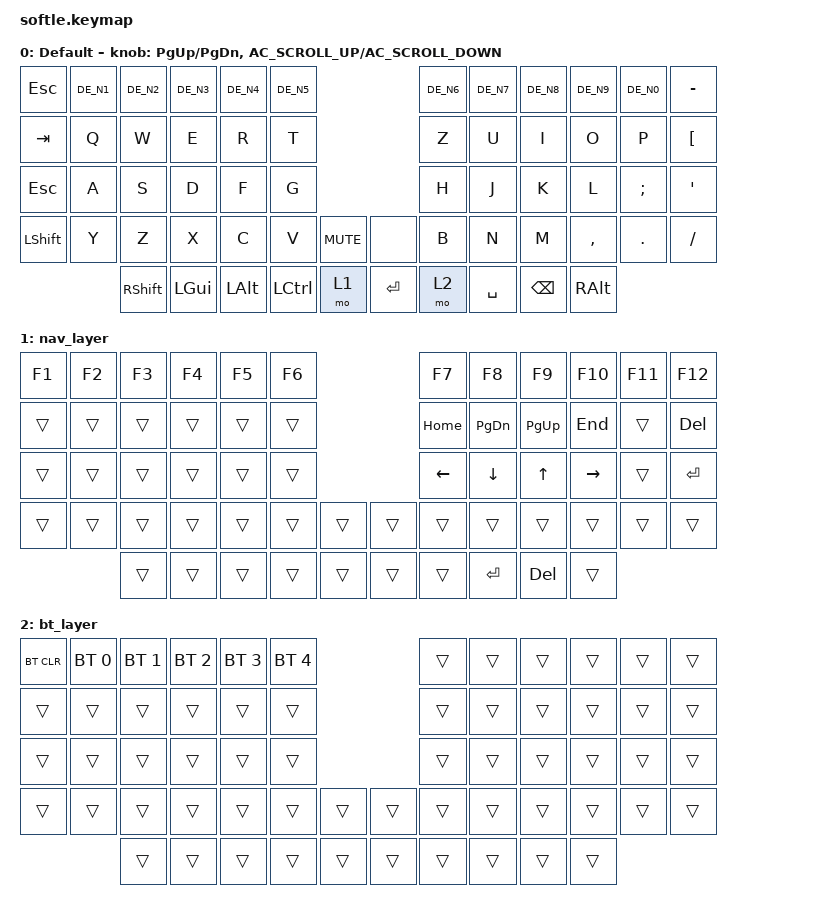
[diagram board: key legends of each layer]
#include <behaviors.dtsi>
#include <dt-bindings/zmk/bt.h>
#include <dt-bindings/zmk/keys.h>
#include "keys_de.h"
  
/ {
    keymap {
        compatible = "zmk,keymap";

        Default {
            bindings = <
&kp ESCAPE  &kp DE_N1  &kp DE_N2  &kp DE_N3  &kp DE_N4  &kp DE_N5                       &kp DE_N6  &kp DE_N7  &kp DE_N8  &kp DE_N9  &kp DE_N0  &kp MINUS
&kp TAB     &kp Q      &kp W      &kp E      &kp R      &kp T                           &kp Z      &kp U      &kp I      &kp O      &kp P      &kp LBKT
&kp ESC     &kp A      &kp S      &kp D      &kp F      &kp G                           &kp H      &kp J      &kp K      &kp L      &kp SEMI   &kp SQT
&kp LSHFT   &kp Y      &kp Z      &kp X      &kp C      &kp V      &kp MUTE    &none    &kp B      &kp N      &kp M      &kp COMMA  &kp DOT    &kp FSLH
                       &kp RSHFT  &kp LGUI   &kp LALT   &kp LCTRL  &mo 1       &kp RET  &mo 2      &kp SPACE  &kp BSPC   &kp RALT
            >;

            sensor-bindings =
                <&inc_dec_kp PG_UP PAGE_DOWN>,
                <&inc_dec_kp C_AC_SCROLL_UP C_AC_SCROLL_DOWN>;
        };

        nav_layer {
            bindings = <
&kp F1  &kp F2  &kp F3  &kp F4  &kp F5  &kp F6                    &kp F7    &kp F8     &kp F9     &kp F10    &kp F11  &kp F12
&trans  &trans  &trans  &trans  &trans  &trans                    &kp HOME  &kp PG_DN  &kp PG_UP  &kp END    &trans   &kp DEL
&trans  &trans  &trans  &trans  &trans  &trans                    &kp LEFT  &kp DOWN   &kp UP     &kp RIGHT  &trans   &kp RET
&trans  &trans  &trans  &trans  &trans  &trans  &trans    &trans  &trans    &trans     &trans     &trans     &trans   &trans
                &trans  &trans  &trans  &trans  &trans    &trans  &trans    &kp RET    &kp DEL    &trans
            >;
        };

        bt_layer {
            bindings = <
&bt BT_CLR  &bt BT_SEL 0  &bt BT_SEL 1  &bt BT_SEL 2  &bt BT_SEL 3  &bt BT_SEL 4                    &trans  &trans  &trans  &trans  &trans  &trans
&trans      &trans        &trans        &trans        &trans        &trans                          &trans  &trans  &trans  &trans  &trans  &trans
&trans      &trans        &trans        &trans        &trans        &trans                          &trans  &trans  &trans  &trans  &trans  &trans
&trans      &trans        &trans        &trans        &trans        &trans        &trans    &trans  &trans  &trans  &trans  &trans  &trans  &trans
                          &trans        &trans        &trans        &trans        &trans    &trans  &trans  &trans  &trans  &trans
            >;
        };
    };
};
